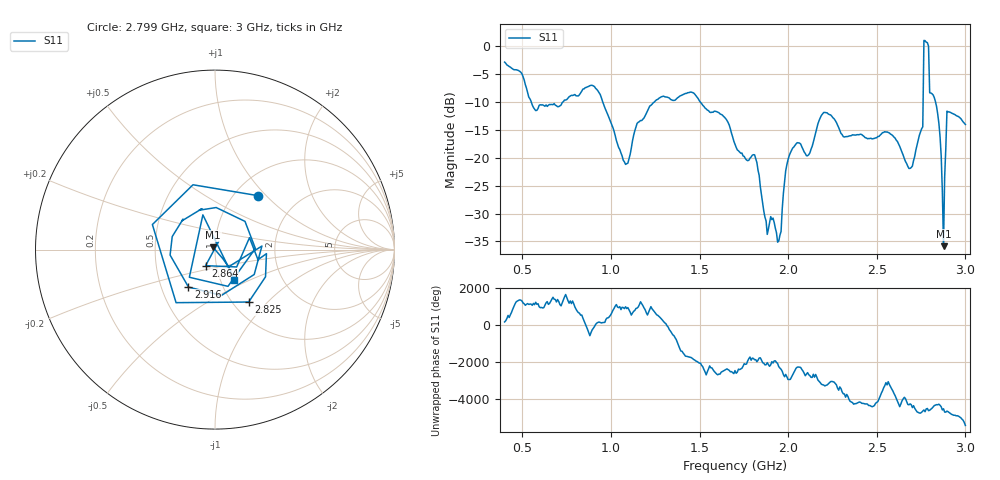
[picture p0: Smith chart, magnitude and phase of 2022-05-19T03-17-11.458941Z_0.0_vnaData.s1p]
!Created with skrf (http://scikit-rf.org).
# Hz S RI R 50.0
!freq ReS11 ImS11
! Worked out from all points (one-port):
!   401 points, 400 MHz to 3 GHz, reference 50 ohm
!   lowest |S11| = -35.8 dB at 2.877 GHz (marker M1), VSWR 1.03, Z = 49 + j1.21 ohm
!   |S11| at or under -10 dB: 550.7 MHz to 728.7 MHz (177.9 MHz wide, 27.8 % of centre); 953.9 MHz to 1.245 GHz (290.6 MHz wide, 26.4 % of centre); 1.504 GHz to 2.761 GHz (1.257 GHz wide, 58.9 % of centre) (the widest 3 of 4)
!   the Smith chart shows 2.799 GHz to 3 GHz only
!   S11 on the Smith chart (normalised r, x): 2.799 GHz: 1.27, +0.90; 2.825 GHz: 1.18, -0.78; 2.864 GHz: 0.89, -0.16; 2.916 GHz: 0.69, -0.31; 3 GHz: 1.17, -0.41
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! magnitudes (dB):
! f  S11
! 400 MHz  -2.8
! 569 MHz  -11.3
! 725 MHz  -10.1
! 907 MHz  -7.2
! 1.05 GHz  -18.5
! 1.089 GHz  -21.0
! 1.226 GHz  -10.6
! 1.375 GHz  -9.3
! 1.7 GHz  -17.6
! 1.81 GHz  -19.5
! 1.875 GHz  -31.3
! 1.947 GHz  -34.9
! 1.992 GHz  -21.3
! 2.025 GHz  -18.3
! 2.116 GHz  -19.4
! 2.207 GHz  -11.9
! 2.35 GHz  -16.0
! 2.571 GHz  -15.5
! 2.675 GHz  -21.5
! 2.747 GHz  -15.4
! 2.779 GHz  0.7
! 2.799 GHz  -8.3
! 2.825 GHz  -9.2
! 2.85 GHz  -13.8
! 2.864 GHz  -19.7
! 2.877 GHz  -35.8
! 2.916 GHz  -11.8
! 3 GHz  -14.0
